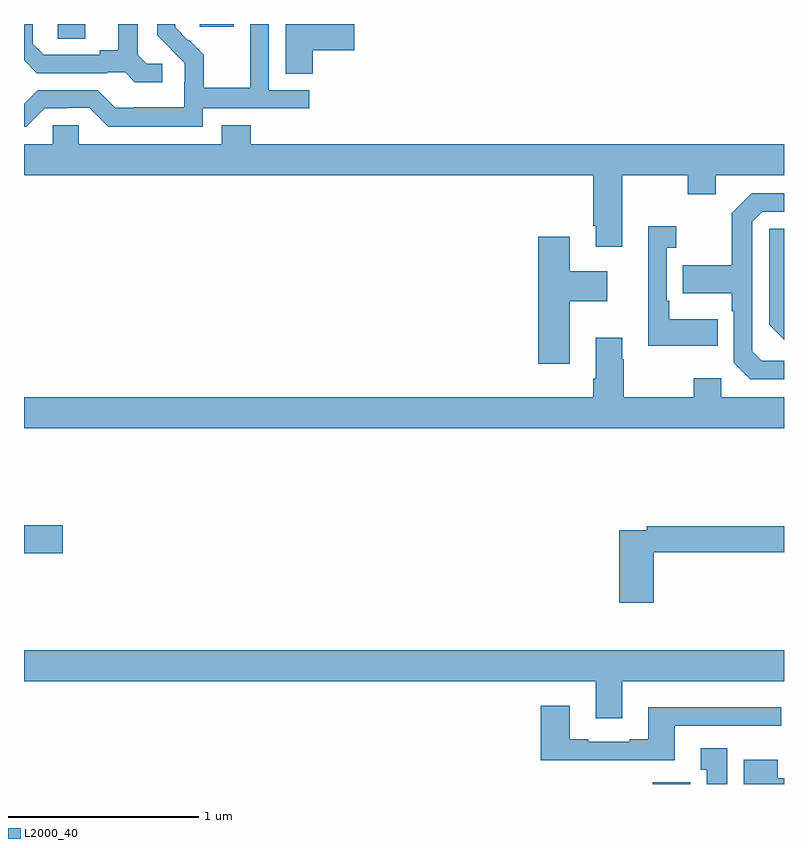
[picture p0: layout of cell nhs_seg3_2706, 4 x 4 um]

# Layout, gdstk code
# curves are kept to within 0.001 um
import gdstk
lib = gdstk.Library(unit=1e-6, precision=1e-09)
def R(c, l, rs):  # rectangles x0, y0, x1, y1
    for r in rs: c.add(gdstk.rectangle(r[:2], r[2:], *l))
def P(c, l, *ps):  # polygons
    for p in ps: c.add(gdstk.Polygon(p, *l))
L2000_40 = (2000, 40)

nhs_seg3_2706 = lib.new_cell('nhs_seg3_2706')
R(nhs_seg3_2706, L2000_40, [(254.309,676.4,254.506,676.408), (251,677.615,251.203,677.762), (251.178,680.323,251.323,680.4), (251.924,680.385,252.103,680.4)])
P(nhs_seg3_2706, L2000_40, [(251.94,679.956),(252.502,679.956),(252.502,680.052),(252.288,680.052),(252.288,680.4),(252.192,680.4),(252.192,680.288),(252.19,680.288),(252.19,680.065),(251.945,680.065),(251.945,680.239),(251.868,680.316),(251.865,680.313),(251.795,680.384),(251.795,680.4),(251.7,680.4),(251.7,680.342),(251.846,680.194),(251.846,680.097),(251.844,680.097),(251.844,679.963),(251.581,679.963),(251.581,679.959),(251.481,679.959),(251.388,680.052),(251.073,680.052),(251,679.979),(251,679.86),(251.013,679.86),(251.109,679.956),(251.228,679.956),(251.228,679.959),(251.343,679.959),(251.443,679.859),(251.94,679.859)],
  [(252.521,680.261),(252.739,680.261),(252.739,680.4),(252.377,680.4),(252.377,680.137),(252.521,680.137)],
  [(251.728,680.19),(251.646,680.19),(251.599,680.237),(251.599,680.4),(251.495,680.4),(251.495,680.261),(251.399,680.261),(251.399,680.238),(251.104,680.238),(251.047,680.295),(251.047,680.4),(251,680.4),(251,680.208),(251.066,680.142),(251.438,680.142),(251.438,680.145),(251.532,680.145),(251.584,680.093),(251.728,680.093)],
  [(252.194,679.867),(252.041,679.867),(252.041,679.768),(251.289,679.768),(251.289,679.866),(251.151,679.866),(251.151,679.768),(251,679.768),(251,679.604),(253.997,679.604),(253.997,679.339),(254.009,679.339),(254.009,679.227),(254.149,679.227),(254.149,679.604),(254.494,679.604),(254.494,679.505),(254.641,679.505),(254.641,679.604),(255,679.604),(255,679.768),(252.194,679.768)],
  [(255,678.627),(254.883,678.627),(254.832,678.678),(254.832,679.359),(254.886,679.413),(255,679.413),(255,679.509),(254.829,679.509),(254.724,679.403),(254.724,679.131),(254.467,679.131),(254.467,678.983),(254.724,678.983),(254.724,678.887),(254.736,678.887),(254.736,678.618),(254.823,678.531),(255,678.531)],
  [(254.651,678.847),(254.395,678.847),(254.395,678.943),(254.382,678.943),(254.382,679.223),(254.434,679.223),(254.434,679.336),(254.285,679.336),(254.285,678.707),(254.651,678.707)],
  [(255,679.323),(254.922,679.323),(254.922,678.816),(255,678.738)],
  [(253.873,678.941),(254.071,678.941),(254.071,679.099),(253.873,679.099),(253.873,679.279),(253.706,679.279),(253.706,678.612),(253.873,678.612)],
  [(255,678.436),(254.67,678.436),(254.67,678.535),(254.524,678.535),(254.524,678.436),(254.157,678.436),(254.157,678.635),(254.149,678.635),(254.149,678.748),(254.009,678.748),(254.009,678.532),(253.997,678.532),(253.997,678.436),(251,678.436),(251,678.272),(255,678.272)],
  [(254.315,677.62),(255,677.62),(255,677.756),(254.278,677.756),(254.278,677.736),(254.132,677.736),(254.132,677.355),(254.315,677.355)],
  [(254.149,676.94),(255,676.94),(255,677.104),(251,677.104),(251,676.94),(254.009,676.94),(254.009,676.746),(254.149,676.746)],
  [(254.425,676.707),(254.986,676.707),(254.986,676.804),(254.285,676.804),(254.285,676.636),(254.189,676.636),(254.189,676.623),(253.969,676.623),(253.969,676.636),(253.873,676.636),(253.873,676.813),(253.721,676.813),(253.721,676.526),(254.425,676.526)],
  [(254.701,676.588),(254.561,676.588),(254.561,676.475),(254.594,676.475),(254.594,676.4),(254.701,676.4)],
  [(255,676.43),(254.968,676.43),(254.968,676.528),(254.789,676.528),(254.789,676.4),(255,676.4)])

lib.write_gds('nhs_seg3_2706.gds')
